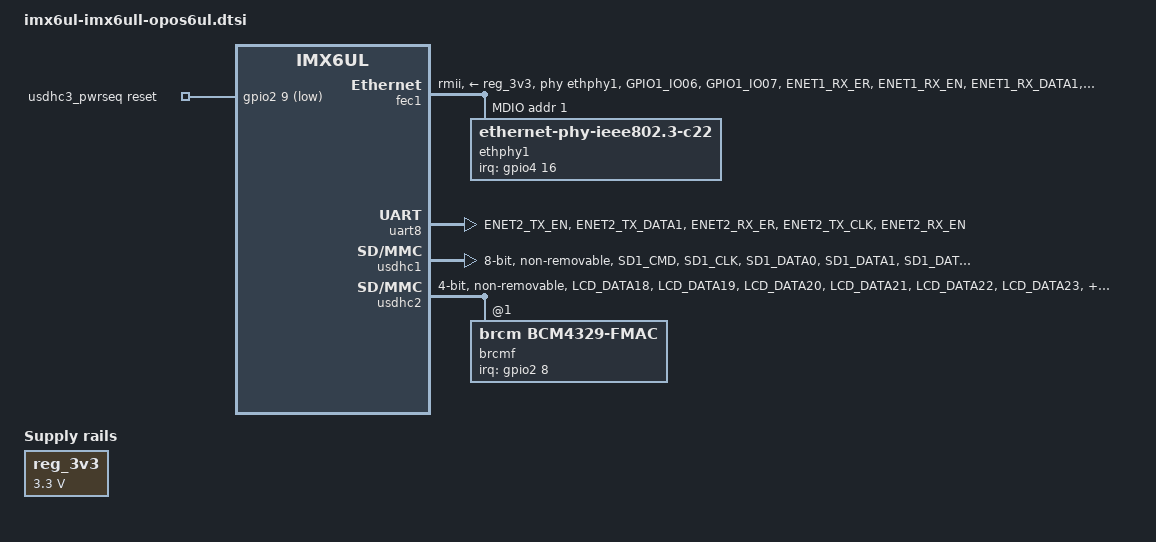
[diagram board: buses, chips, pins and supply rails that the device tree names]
// SPDX-License-Identifier: GPL-2.0 OR MIT
//
// Copyright 2019 Armadeus Systems <support@armadeus.com>

/ {
	memory@80000000 {
		device_type = "memory";
		reg = <0x80000000 0>; /* will be filled by U-Boot */
	};

	reg_3v3: regulator-3v3 {
		compatible = "regulator-fixed";
		regulator-name = "3V3";
		regulator-min-microvolt = <3300000>;
		regulator-max-microvolt = <3300000>;
	};

	usdhc3_pwrseq: usdhc3-pwrseq {
		compatible = "mmc-pwrseq-simple";
		reset-gpios = <&gpio2 9 GPIO_ACTIVE_LOW>;
	};
};

&fec1 {
	pinctrl-names = "default";
	pinctrl-0 = <&pinctrl_enet1>;
	phy-mode = "rmii";
	phy-reset-duration = <1>;
	phy-reset-gpios = <&gpio4 2 GPIO_ACTIVE_LOW>;
	phy-handle = <&ethphy1>;
	phy-supply = <&reg_3v3>;
	status = "okay";

	mdio: mdio {
		#address-cells = <1>;
		#size-cells = <0>;

		ethphy1: ethernet-phy@1 {
			compatible = "ethernet-phy-ieee802.3-c22";
			reg = <1>;
			interrupt-parent = <&gpio4>;
			interrupts = <16 IRQ_TYPE_LEVEL_LOW>;
			micrel,led-mode = <1>;
			clocks = <&clks IMX6UL_CLK_ENET_REF>;
			clock-names = "rmii-ref";
			status = "okay";
		};
	};
};

/* Bluetooth */
&uart8 {
	pinctrl-names = "default";
	pinctrl-0 = <&pinctrl_uart8>;
	uart-has-rtscts;
	status = "okay";
};

/* eMMC */
&usdhc1 {
	pinctrl-names = "default";
	pinctrl-0 = <&pinctrl_usdhc1>;
	bus-width = <8>;
	no-1-8-v;
	non-removable;
	status = "okay";
};

/* WiFi */
&usdhc2 {
	pinctrl-names = "default";
	pinctrl-0 = <&pinctrl_usdhc2>;
	bus-width = <4>;
	no-1-8-v;
	non-removable;
	mmc-pwrseq = <&usdhc3_pwrseq>;
	status = "okay";

	#address-cells = <1>;
	#size-cells = <0>;

	brcmf: wifi@1 {
		compatible = "brcm,bcm4329-fmac";
		reg = <1>;
		interrupt-parent = <&gpio2>;
		interrupts = <8 IRQ_TYPE_LEVEL_LOW>;
		interrupt-names = "host-wake";
	};
};

&iomuxc {
	pinctrl_enet1: enet1grp {
		fsl,pins = <
			MX6UL_PAD_GPIO1_IO06__ENET1_MDIO	0x1b0b0
			MX6UL_PAD_GPIO1_IO07__ENET1_MDC		0x1b0b0
			MX6UL_PAD_ENET1_RX_ER__ENET1_RX_ER	0x130b0
			MX6UL_PAD_ENET1_RX_EN__ENET1_RX_EN	0x130b0
			MX6UL_PAD_ENET1_RX_DATA1__ENET1_RDATA01	0x130b0
			MX6UL_PAD_ENET1_RX_DATA0__ENET1_RDATA00	0x130b0
			MX6UL_PAD_ENET1_TX_DATA0__ENET1_TDATA00	0x1b0b0
			MX6UL_PAD_ENET1_TX_DATA1__ENET1_TDATA01	0x1b0b0
			MX6UL_PAD_ENET1_TX_EN__ENET1_TX_EN	0x1b0b0
			/* INT# */
			MX6UL_PAD_NAND_DQS__GPIO4_IO16		0x1b0b0
			/* RST# */
			MX6UL_PAD_NAND_DATA00__GPIO4_IO02	0x130b0
			MX6UL_PAD_ENET1_TX_CLK__ENET1_REF_CLK1	0x4001b031
		>;
	};

	pinctrl_uart8: uart8grp {
		fsl,pins = <
			MX6UL_PAD_ENET2_TX_EN__UART8_DCE_RX	0x1b0b0
			MX6UL_PAD_ENET2_TX_DATA1__UART8_DCE_TX	0x1b0b0
			MX6UL_PAD_ENET2_RX_ER__UART8_DCE_RTS	0x1b0b0
			MX6UL_PAD_ENET2_TX_CLK__UART8_DCE_CTS	0x1b0b0
			/* BT_REG_ON */
			MX6UL_PAD_ENET2_RX_EN__GPIO2_IO10	0x130b0
		>;
	};

	pinctrl_usdhc1: usdhc1grp {
		fsl,pins = <
			MX6UL_PAD_SD1_CMD__USDHC1_CMD		0x17059
			MX6UL_PAD_SD1_CLK__USDHC1_CLK		0x10059
			MX6UL_PAD_SD1_DATA0__USDHC1_DATA0	0x17059
			MX6UL_PAD_SD1_DATA1__USDHC1_DATA1	0x17059
			MX6UL_PAD_SD1_DATA2__USDHC1_DATA2	0x17059
			MX6UL_PAD_SD1_DATA3__USDHC1_DATA3	0x17059
			MX6UL_PAD_NAND_READY_B__USDHC1_DATA4	0x17059
			MX6UL_PAD_NAND_CE0_B__USDHC1_DATA5	0x17059
			MX6UL_PAD_NAND_CE1_B__USDHC1_DATA6	0x17059
			MX6UL_PAD_NAND_CLE__USDHC1_DATA7	0x17059
		>;
	};

	pinctrl_usdhc2: usdhc2grp {
		fsl,pins = <
			MX6UL_PAD_LCD_DATA18__USDHC2_CMD	0x1b0b0
			MX6UL_PAD_LCD_DATA19__USDHC2_CLK	0x100b0
			MX6UL_PAD_LCD_DATA20__USDHC2_DATA0	0x1b0b0
			MX6UL_PAD_LCD_DATA21__USDHC2_DATA1	0x1b0b0
			MX6UL_PAD_LCD_DATA22__USDHC2_DATA2	0x1b0b0
			MX6UL_PAD_LCD_DATA23__USDHC2_DATA3	0x1b0b0
			/* WL_REG_ON */
			MX6UL_PAD_ENET2_RX_DATA1__GPIO2_IO09	0x130b0
			/* WL_IRQ */
			MX6UL_PAD_ENET2_RX_DATA0__GPIO2_IO08	0x1b0b0
		>;
	};
};
